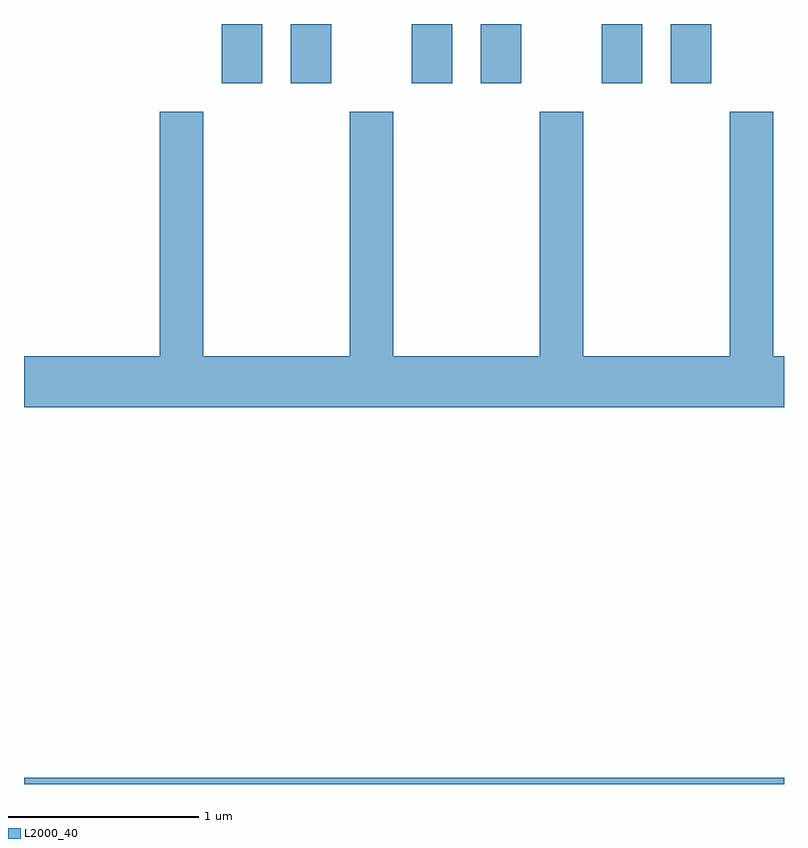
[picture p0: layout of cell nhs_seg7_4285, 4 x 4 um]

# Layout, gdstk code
import gdstk
lib = gdstk.Library(unit=1e-6, precision=1e-09)
def R(c, l, rs):  # rectangles x0, y0, x1, y1
    for r in rs: c.add(gdstk.rectangle(r[:2], r[2:], *l))
def P(c, l, *ps):  # polygons
    for p in ps: c.add(gdstk.Polygon(p, *l))
L2000_40 = (2000, 40)

nhs_seg7_4285 = lib.new_cell('nhs_seg7_4285')
R(nhs_seg7_4285, L2000_40, [(315.611,1792.252,319.611,1792.284), (316.651,1795.941,316.864,1796.252), (317.016,1795.941,317.229,1796.252), (317.651,1795.941,317.864,1796.252), (318.016,1795.941,318.229,1796.252), (318.651,1795.941,318.864,1796.252), (319.016,1795.941,319.229,1796.252)])
P(nhs_seg7_4285, L2000_40, [(319.611,1794.504),(319.554,1794.504),(319.554,1795.789),(319.326,1795.789),(319.326,1794.504),(318.554,1794.504),(318.554,1795.789),(318.326,1795.789),(318.326,1794.504),(317.554,1794.504),(317.554,1795.789),(317.326,1795.789),(317.326,1794.504),(316.554,1794.504),(316.554,1795.789),(316.326,1795.789),(316.326,1794.504),(315.611,1794.504),(315.611,1794.236),(319.611,1794.236)])

lib.write_gds('nhs_seg7_4285.gds')
